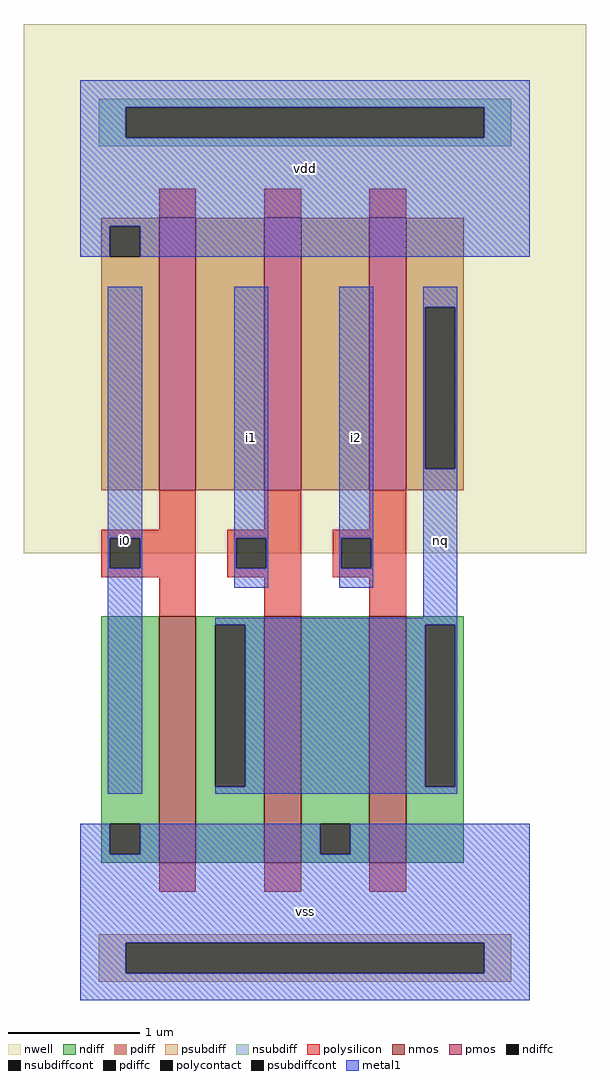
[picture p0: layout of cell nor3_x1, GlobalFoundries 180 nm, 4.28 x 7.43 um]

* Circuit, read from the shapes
.subckt nor3_x1 vss vdd nq i0 i1 i2
XM1 nq i0 vss vss nfet_03v3 w=1.875u l=0.28u
XM2 vss i1 nq vss nfet_03v3 w=1.875u l=0.28u
XM3 nq i2 vss vss nfet_03v3 w=1.875u l=0.28u
XM4 n1 i0 vdd vdd pfet_03v3 w=2.075u l=0.28u
XM5 n2 i1 n1 vdd pfet_03v3 w=2.075u l=0.28u
XM6 nq i2 n2 vdd pfet_03v3 w=2.075u l=0.28u
.ends

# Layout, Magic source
magic
tech gf180mcuD
magscale 1 10
<< nwell >>
rect -86 680 770 1486
<< nmos >>
rect 120 209 176 584
rect 280 209 336 584
rect 440 209 496 584
<< pmos >>
rect 120 776 176 1191
rect 280 776 336 1191
rect 440 776 496 1191
<< ndiff >>
rect 32 268 120 584
rect 32 222 45 268
rect 91 222 120 268
rect 32 209 120 222
rect 176 571 280 584
rect 176 325 205 571
rect 251 325 280 571
rect 176 209 280 325
rect 336 268 440 584
rect 336 222 365 268
rect 411 222 440 268
rect 336 209 440 222
rect 496 571 584 584
rect 496 325 525 571
rect 571 325 584 571
rect 496 209 584 325
<< pdiff >>
rect 32 1178 120 1191
rect 32 1132 45 1178
rect 91 1132 120 1178
rect 32 776 120 1132
rect 176 776 280 1191
rect 336 776 440 1191
rect 496 1055 584 1191
rect 496 809 525 1055
rect 571 809 584 1055
rect 496 776 584 809
<< ndiffc >>
rect 45 222 91 268
rect 205 325 251 571
rect 365 222 411 268
rect 525 325 571 571
<< pdiffc >>
rect 45 1132 91 1178
rect 525 809 571 1055
<< psubdiff >>
rect 28 87 656 100
rect 28 41 69 87
rect 615 41 656 87
rect 28 28 656 41
<< nsubdiff >>
rect 28 1359 656 1372
rect 28 1313 69 1359
rect 615 1313 656 1359
rect 28 1300 656 1313
<< psubdiffcont >>
rect 69 41 615 87
<< nsubdiffcont >>
rect 69 1313 615 1359
<< polysilicon >>
rect 120 1191 176 1235
rect 280 1191 336 1235
rect 440 1191 496 1235
rect 120 716 176 776
rect 280 716 336 776
rect 440 716 496 776
rect 32 703 176 716
rect 32 657 45 703
rect 91 657 176 703
rect 32 644 176 657
rect 224 703 336 716
rect 224 657 237 703
rect 283 657 336 703
rect 224 644 336 657
rect 384 703 496 716
rect 384 657 397 703
rect 443 657 496 703
rect 384 644 496 657
rect 120 584 176 644
rect 280 584 336 644
rect 440 584 496 644
rect 120 165 176 209
rect 280 165 336 209
rect 440 165 496 209
<< polycontact >>
rect 45 657 91 703
rect 237 657 283 703
rect 397 657 443 703
<< metal1 >>
rect 0 1359 684 1400
rect 0 1313 69 1359
rect 615 1313 684 1359
rect 0 1178 684 1313
rect 0 1132 45 1178
rect 91 1132 684 1178
rect 42 703 94 1086
rect 42 657 45 703
rect 91 657 94 703
rect 42 314 94 657
rect 234 703 286 1086
rect 234 657 237 703
rect 283 657 286 703
rect 234 628 286 657
rect 394 703 446 1086
rect 394 657 397 703
rect 443 657 446 703
rect 394 628 446 657
rect 522 1055 574 1086
rect 522 809 525 1055
rect 571 809 574 1055
rect 522 582 574 809
rect 205 571 574 582
rect 251 325 525 571
rect 571 325 574 571
rect 205 314 574 325
rect 0 222 45 268
rect 91 222 365 268
rect 411 222 684 268
rect 0 87 684 222
rect 0 41 69 87
rect 615 41 684 87
rect 0 0 684 41
<< labels >>
rlabel metal1 s 0 0 684 268 4 vss
port 3 nsew
rlabel metal1 s 0 1132 684 1400 4 vdd
port 5 nsew
rlabel metal1 s 522 314 574 1086 4 nq
port 7 nsew
rlabel metal1 s 42 314 94 1086 4 i0
port 9 nsew
rlabel metal1 s 234 628 286 1086 4 i1
port 11 nsew
rlabel metal1 s 394 628 446 1086 4 i2
port 13 nsew
<< end >>
